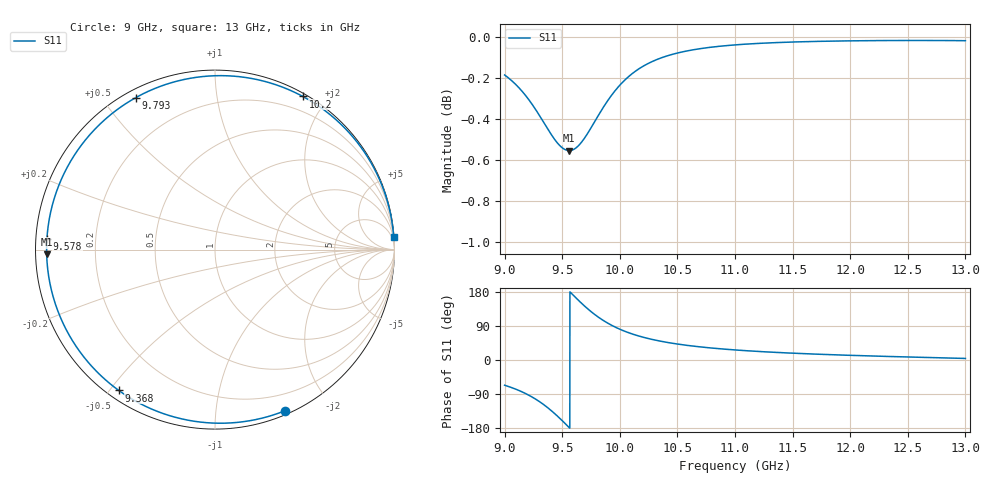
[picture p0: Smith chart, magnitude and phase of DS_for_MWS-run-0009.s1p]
! TOUCHSTONE file generated by CST DESIGN STUDIO
! Date and time: Wed Feb  5 13:20:49 2025
! Project name: C:\Work\MatlabApps\UnitCellOptimizationMatlab\CST\unitcell.cst
! Tree item: Tasks\Sweep1\SPara1\S-Parameters
! Header version: 2024
! Port assignment regex: !\s*Touchstone port\s*([0-9]+)\s*=\s*(CST MWS port|CST DES external port|CST DES block port)\s*(.+)\s* \(\"(.*)\"\)(\s*mode\s*([0-9]+))?.*
! Touchstone port assignment:
! Touchstone port 1 = CST DES external port 1 ("")
# GHz S MA R 50
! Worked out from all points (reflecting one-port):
!   4001 points, 9 GHz to 13 GHz, reference 50 ohm
!   lowest |S11| = -0.6 dB at 9.561 GHz (marker M1), VSWR 31.42, Z = 1.59 - j0.686 ohm
!   phase of S11 starts at -67 deg and turns -289 deg over the sweep
!   S11 on the Smith chart (normalised r, x): 9 GHz: 0.04, -1.52; 9.368 GHz: 0.03, -0.53; 9.578 GHz: 0.03, +0.03; 9.793 GHz: 0.03, +0.60; 10.2 GHz: 0.03, +1.73; 13 GHz: 1, +28
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9  0.9789 -66.6
9.042  0.9768 -70.8
9.108  0.9729 -78.3
9.221  0.9645 -94.7
9.299  0.9572 -109.1
9.368  0.9503 -124.4
9.432  0.9444 -140.7
9.5  0.9398 -160.0
9.561  0.9383 -178.4
9.578  0.9384 176.4
9.633  0.9404 159.8
9.693  0.9448 142.7
9.743  0.9496 129.5
9.793  0.9548 117.6
9.838  0.9594 108.0
9.886  0.9641 98.9
9.939  0.9687 90.0
10  0.9733 81.2
10.096  0.979 69.9
10.202  0.9836 60.1
10.339  0.9878 50.5
10.5  0.9909 42.1
10.721  0.9936 33.8
11  0.9955 26.5
11.5  0.9971 18.0
12  0.9977 12.3
12.5  0.9979 7.9
13  0.9978 4.1
